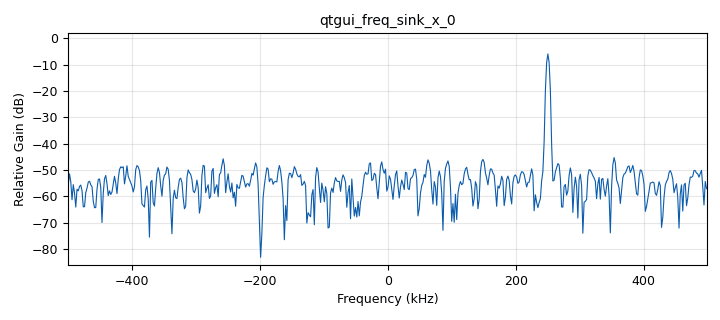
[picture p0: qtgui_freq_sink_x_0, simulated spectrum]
<?xml version='1.0' encoding='utf-8'?>
<?grc format='1' created='3.7.11'?>
<flow_graph>
<block>
<key>options</key>
<param><key>id</key><value>top_block</value></param>
<param><key>generate_options</key><value>qt_gui</value></param>
</block>
<block>
<key>variable</key>
<param><key>id</key><value>samp_rate</value></param>
<param><key>value</key><value>1e6</value></param>
</block>
<block>
<key>analog_random_source_x</key>
<param><key>id</key><value>analog_random_source_x_0</value></param>
<param><key>max</key><value>255</value></param>
<param><key>min</key><value>0</value></param>
<param><key>num_samps</key><value>1000</value></param>
<param><key>type</key><value>byte</value></param>
<param><key>repeat</key><value>True</value></param>
</block>
<block>
<key>analog_sig_source_x</key>
<param><key>id</key><value>analog_sig_source_x_0</value></param>
<param><key>amp</key><value>1</value></param>
<param><key>freq</key><value>250e3</value></param>
<param><key>offset</key><value>0</value></param>
<param><key>type</key><value>complex</value></param>
<param><key>samp_rate</key><value>samp_rate</value></param>
<param><key>waveform</key><value>analog.GR_COS_WAVE</value></param>
</block>
<block>
<key>blocks_null_sink</key>
<param><key>id</key><value>blocks_null_sink_0</value></param>
<param><key>bus_conns</key><value>[[0,],]</value></param>
<param><key>type</key><value>byte</value></param>
</block>
<block>
<key>channels_channel_model</key>
<param><key>id</key><value>channels_channel_model_0</value></param>
<param><key>epsilon</key><value>1.0</value></param>
<param><key>freq_offset</key><value>0.0</value></param>
<param><key>noise_voltage</key><value>10**(-10/10)</value></param>
<param><key>seed</key><value>0</value></param>
<param><key>taps</key><value>1.0 + 1.0j</value></param>
</block>
<block>
<key>qtgui_freq_sink_x</key>
<param><key>id</key><value>qtgui_freq_sink_x_0</value></param>
<param><key>autoscale</key><value>True</value></param>
<param><key>bw</key><value>samp_rate</value></param>
<param><key>fc</key><value>0</value></param>
<param><key>fftsize</key><value>512</value></param>
<param><key>showports</key><value>True</value></param>
<param><key>type</key><value>complex</value></param>
<param><key>wintype</key><value>firdes.WIN_BLACKMAN_hARRIS</value></param>
</block>
<block>
<key>qtgui_freq_sink_x</key>
<param><key>id</key><value>qtgui_freq_sink_x_0_0</value></param>
<param><key>autoscale</key><value>True</value></param>
<param><key>bw</key><value>samp_rate</value></param>
<param><key>fc</key><value>0</value></param>
<param><key>_enabled</key><value>0</value></param>
<param><key>fftsize</key><value>512</value></param>
<param><key>showports</key><value>True</value></param>
<param><key>type</key><value>complex</value></param>
<param><key>wintype</key><value>firdes.WIN_BLACKMAN_hARRIS</value></param>
</block>
<block>
<key>uhd_usrp_sink</key>
<param><key>id</key><value>uhd_usrp_sink_0</value></param>
<param><key>ant0</key><value></value></param>
<param><key>center_freq0</key><value>440e6</value></param>
<param><key>norm_gain0</key><value>False</value></param>
<param><key>gain0</key><value>5</value></param>
<param><key>clock_rate</key><value>0.0</value></param>
<param><key>dev_args</key><value>""</value></param>
<param><key>type</key><value>fc32</value></param>
<param><key>samp_rate</key><value>samp_rate</value></param>
<param><key>hide_cmd_port</key><value>False</value></param>
<param><key>hide_lo_controls</key><value>True</value></param>
<param><key>sync</key><value></value></param>
<param><key>len_tag_name</key><value></value></param>
</block>
<block>
<key>uhd_usrp_source</key>
<param><key>id</key><value>uhd_usrp_source_0</value></param>
<param><key>ant0</key><value></value></param>
<param><key>center_freq0</key><value>0</value></param>
<param><key>dc_offs_enb0</key><value>""</value></param>
<param><key>iq_imbal_enb0</key><value>""</value></param>
<param><key>norm_gain0</key><value>False</value></param>
<param><key>gain0</key><value>5</value></param>
<param><key>clock_rate</key><value>0.0</value></param>
<param><key>dev_args</key><value>""</value></param>
<param><key>_enabled</key><value>0</value></param>
<param><key>type</key><value>fc32</value></param>
<param><key>samp_rate</key><value>samp_rate</value></param>
<param><key>hide_cmd_port</key><value>False</value></param>
<param><key>hide_lo_controls</key><value>True</value></param>
<param><key>sync</key><value></value></param>
</block>
<connection><source_block_id>analog_random_source_x_0</source_block_id><sink_block_id>blocks_null_sink_0</sink_block_id><source_key>0</source_key><sink_key>0</sink_key></connection>
<connection><source_block_id>analog_sig_source_x_0</source_block_id><sink_block_id>channels_channel_model_0</sink_block_id><source_key>0</source_key><sink_key>0</sink_key></connection>
<connection><source_block_id>analog_sig_source_x_0</source_block_id><sink_block_id>uhd_usrp_sink_0</sink_block_id><source_key>0</source_key><sink_key>0</sink_key></connection>
<connection><source_block_id>channels_channel_model_0</source_block_id><sink_block_id>qtgui_freq_sink_x_0</sink_block_id><source_key>0</source_key><sink_key>0</sink_key></connection>
<connection><source_block_id>uhd_usrp_source_0</source_block_id><sink_block_id>qtgui_freq_sink_x_0_0</sink_block_id><source_key>0</source_key><sink_key>0</sink_key></connection>
</flow_graph>
